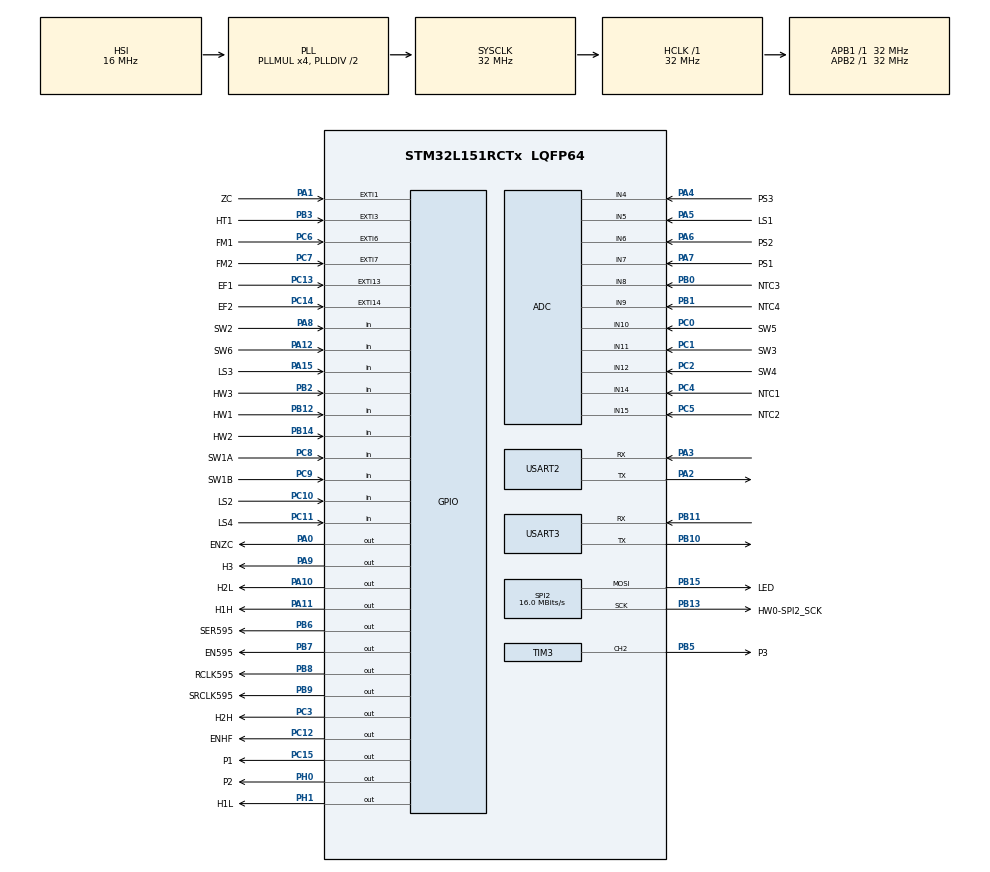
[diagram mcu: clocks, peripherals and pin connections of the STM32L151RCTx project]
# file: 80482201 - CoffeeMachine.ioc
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ADC.Channel-0\#ChannelRegularConversion=ADC_CHANNEL_4
ADC.Channel-1\#ChannelRegularConversion=ADC_CHANNEL_5
ADC.Channel-10\#ChannelRegularConversion=ADC_CHANNEL_12
ADC.Channel-11\#ChannelRegularConversion=ADC_CHANNEL_VREFINT
ADC.Channel-2\#ChannelRegularConversion=ADC_CHANNEL_6
ADC.Channel-3\#ChannelRegularConversion=ADC_CHANNEL_7
ADC.Channel-4\#ChannelRegularConversion=ADC_CHANNEL_8
ADC.Channel-5\#ChannelRegularConversion=ADC_CHANNEL_9
ADC.Channel-6\#ChannelRegularConversion=ADC_CHANNEL_14
ADC.Channel-7\#ChannelRegularConversion=ADC_CHANNEL_15
ADC.Channel-8\#ChannelRegularConversion=ADC_CHANNEL_10
ADC.Channel-9\#ChannelRegularConversion=ADC_CHANNEL_11
ADC.ClockPrescaler=ADC_CLOCK_ASYNC_DIV4
ADC.ContinuousConvMode=ENABLE
ADC.DMAContinuousRequests=ENABLE
ADC.NbrOfConversion=12
ADC.NbrOfConversionFlag=1
ADC.Rank-0\#ChannelRegularConversion=1
ADC.Rank-1\#ChannelRegularConversion=2
ADC.Rank-10\#ChannelRegularConversion=11
ADC.Rank-11\#ChannelRegularConversion=12
ADC.Rank-2\#ChannelRegularConversion=3
ADC.Rank-3\#ChannelRegularConversion=4
ADC.Rank-4\#ChannelRegularConversion=5
ADC.Rank-5\#ChannelRegularConversion=6
ADC.Rank-6\#ChannelRegularConversion=7
ADC.Rank-7\#ChannelRegularConversion=8
ADC.Rank-8\#ChannelRegularConversion=9
ADC.Rank-9\#ChannelRegularConversion=10
ADC.SamplingTime-0\#ChannelRegularConversion=ADC_SAMPLETIME_192CYCLES
ADC.SamplingTime-1\#ChannelRegularConversion=ADC_SAMPLETIME_192CYCLES
ADC.SamplingTime-10\#ChannelRegularConversion=ADC_SAMPLETIME_192CYCLES
ADC.SamplingTime-11\#ChannelRegularConversion=ADC_SAMPLETIME_192CYCLES
ADC.SamplingTime-2\#ChannelRegularConversion=ADC_SAMPLETIME_192CYCLES
ADC.SamplingTime-3\#ChannelRegularConversion=ADC_SAMPLETIME_192CYCLES
ADC.SamplingTime-4\#ChannelRegularConversion=ADC_SAMPLETIME_192CYCLES
ADC.SamplingTime-5\#ChannelRegularConversion=ADC_SAMPLETIME_192CYCLES
ADC.SamplingTime-6\#ChannelRegularConversion=ADC_SAMPLETIME_192CYCLES
ADC.SamplingTime-7\#ChannelRegularConversion=ADC_SAMPLETIME_192CYCLES
ADC.SamplingTime-8\#ChannelRegularConversion=ADC_SAMPLETIME_192CYCLES
ADC.SamplingTime-9\#ChannelRegularConversion=ADC_SAMPLETIME_192CYCLES
ADC.ScanConvMode=ADC_SCAN_ENABLE
Dma.ADC.2.Direction=DMA_PERIPH_TO_MEMORY
Dma.ADC.2.Instance=DMA1_Channel1
Dma.ADC.2.MemDataAlignment=DMA_MDATAALIGN_HALFWORD
Dma.ADC.2.MemInc=DMA_MINC_ENABLE
Dma.ADC.2.Mode=DMA_CIRCULAR
Dma.ADC.2.PeriphDataAlignment=DMA_PDATAALIGN_HALFWORD
Dma.ADC.2.PeriphInc=DMA_PINC_DISABLE
Dma.ADC.2.Priority=DMA_PRIORITY_LOW
Dma.Request0=USART2_RX
Dma.Request1=USART3_RX
Dma.Request2=ADC
Dma.Request3=SPI2_TX
Dma.SPI2_TX.3.Direction=DMA_MEMORY_TO_PERIPH
Dma.SPI2_TX.3.Instance=DMA1_Channel5
Dma.SPI2_TX.3.MemDataAlignment=DMA_MDATAALIGN_BYTE
Dma.SPI2_TX.3.MemInc=DMA_MINC_ENABLE
Dma.SPI2_TX.3.Mode=DMA_NORMAL
Dma.SPI2_TX.3.PeriphDataAlignment=DMA_PDATAALIGN_BYTE
Dma.SPI2_TX.3.PeriphInc=DMA_PINC_DISABLE
Dma.SPI2_TX.3.Priority=DMA_PRIORITY_MEDIUM
Dma.USART2_RX.0.Direction=DMA_PERIPH_TO_MEMORY
Dma.USART2_RX.0.Instance=DMA1_Channel6
Dma.USART2_RX.0.MemDataAlignment=DMA_MDATAALIGN_BYTE
Dma.USART2_RX.0.MemInc=DMA_MINC_ENABLE
Dma.USART2_RX.0.Mode=DMA_CIRCULAR
Dma.USART2_RX.0.PeriphDataAlignment=DMA_PDATAALIGN_BYTE
Dma.USART2_RX.0.PeriphInc=DMA_PINC_DISABLE
Dma.USART2_RX.0.Priority=DMA_PRIORITY_LOW
Dma.USART3_RX.1.Direction=DMA_PERIPH_TO_MEMORY
Dma.USART3_RX.1.Instance=DMA1_Channel3
Dma.USART3_RX.1.MemDataAlignment=DMA_MDATAALIGN_BYTE
Dma.USART3_RX.1.MemInc=DMA_MINC_ENABLE
Dma.USART3_RX.1.Mode=DMA_CIRCULAR
Dma.USART3_RX.1.PeriphDataAlignment=DMA_PDATAALIGN_BYTE
Dma.USART3_RX.1.PeriphInc=DMA_PINC_DISABLE
Dma.USART3_RX.1.Priority=DMA_PRIORITY_LOW
IWDG.Prescaler=IWDG_PRESCALER_256
IWDG.Reload=1250
Mcu.Family=STM32L1
Mcu.Name=STM32L151RCTx
Mcu.Package=LQFP64
NVIC.ADC1_IRQn=true\:0\:0\:false\:false\:true\:true\:true\:true
NVIC.DMA1_Channel1_IRQn=true\:0\:0\:false\:false\:true\:false\:true\:true
NVIC.DMA1_Channel3_IRQn=true\:0\:0\:false\:false\:true\:false\:true\:true
NVIC.DMA1_Channel5_IRQn=true\:0\:0\:false\:false\:true\:false\:true\:true
NVIC.DMA1_Channel6_IRQn=true\:0\:0\:false\:false\:true\:false\:true\:true
NVIC.EXTI15_10_IRQn=true\:0\:0\:false\:false\:true\:true\:true\:true
NVIC.EXTI1_IRQn=true\:0\:0\:false\:false\:true\:true\:true\:true
NVIC.EXTI3_IRQn=true\:0\:0\:false\:false\:true\:true\:true\:true
NVIC.EXTI9_5_IRQn=true\:0\:0\:false\:false\:true\:true\:true\:true
NVIC.PriorityGroup=NVIC_PRIORITYGROUP_4
NVIC.TIM9_IRQn=true\:0\:0\:false\:false\:true\:true\:true\:true
NVIC.USART2_IRQn=true\:0\:0\:false\:false\:true\:true\:true\:true
NVIC.USART3_IRQn=true\:0\:0\:false\:false\:true\:true\:true\:true
PA0-WKUP1.GPIO_Label=ENZC
PA0-WKUP1.Signal=GPIO_Output
PA1.GPIO_Label=ZC
PA1.GPIO_PuPd=GPIO_PULLUP
PA1.Signal=GPXTI1
PA10.GPIO_Label=H2L
PA10.Signal=GPIO_Output
PA11.GPIO_Label=H1H
PA11.Signal=GPIO_Output
PA12.GPIO_Label=SW6
PA12.GPIO_PuPd=GPIO_PULLUP
PA12.Signal=GPIO_Input
PA13.Mode=Serial_Wire
PA13.Signal=SYS_JTMS-SWDIO
PA14.Mode=Serial_Wire
PA14.Signal=SYS_JTCK-SWCLK
PA15.GPIO_Label=LS3
PA15.Signal=GPIO_Input
PA2.Mode=Asynchronous
PA2.Signal=USART2_TX
PA3.Mode=Asynchronous
PA3.Signal=USART2_RX
PA4.GPIO_Label=PS3
PA4.Mode=IN4
PA4.Signal=ADC_IN4
PA5.GPIO_Label=LS1
PA5.Mode=IN5
PA5.Signal=ADC_IN5
PA6.GPIO_Label=PS2
PA6.Mode=IN6
PA6.Signal=ADC_IN6
PA7.GPIO_Label=PS1
PA7.Mode=IN7
PA7.Signal=ADC_IN7
PA8.GPIO_Label=SW2
PA8.GPIO_PuPd=GPIO_PULLUP
PA8.Signal=GPIO_Input
PA9.GPIO_Label=H3
PA9.Signal=GPIO_Output
PB0.GPIO_Label=NTC3
PB0.Mode=IN8
PB0.Signal=ADC_IN8
PB1.GPIO_Label=NTC4
PB1.Signal=SharedAnalog_PB1
PB10.Mode=Asynchronous
PB10.Signal=USART3_TX
PB11.Mode=Asynchronous
PB11.Signal=USART3_RX
PB12.GPIO_Label=HW1
PB12.GPIO_PuPd=GPIO_PULLUP
PB12.Signal=GPIO_Input
PB13.GPIO_Label=HW0-SPI2_SCK
PB13.Mode=TX_Only_Simplex_Unidirect_Master
PB13.Signal=SPI2_SCK
PB14.GPIO_Label=HW2
PB14.GPIO_PuPd=GPIO_PULLUP
PB14.Signal=GPIO_Input
PB15.GPIO_Label=LED
PB15.Mode=TX_Only_Simplex_Unidirect_Master
PB15.Signal=SPI2_MOSI
PB2.GPIO_Label=HW3
PB2.GPIO_PuPd=GPIO_PULLUP
PB2.Signal=GPIO_Input
PB3.GPIO_Label=HT1
PB3.Signal=GPXTI3
PB5.GPIO_Label=P3
PB5.Signal=S_TIM3_CH2
PB6.GPIO_Label=SER595
PB6.Signal=GPIO_Output
PB7.GPIO_Label=EN595
PB7.Signal=GPIO_Output
PB8.GPIO_Label=RCLK595
PB8.Signal=GPIO_Output
PB9.GPIO_Label=SRCLK595
PB9.Signal=GPIO_Output
PC0.GPIO_Label=SW5
PC0.Mode=IN10
PC0.Signal=ADC_IN10
PC1.GPIO_Label=SW3
PC1.Mode=IN11
PC1.Signal=ADC_IN11
PC10.GPIO_Label=LS2
PC10.Signal=GPIO_Input
PC11.GPIO_Label=LS4
PC11.Signal=GPIO_Input
PC12.GPIO_Label=ENHF
PC12.Signal=GPIO_Output
PC13-WKUP2.GPIO_Label=EF1
PC13-WKUP2.GPIO_PuPd=GPIO_PULLUP
PC13-WKUP2.Signal=GPXTI13
PC14-OSC32_IN.GPIO_Label=EF2
PC14-OSC32_IN.GPIO_PuPd=GPIO_PULLUP
PC14-OSC32_IN.Signal=GPXTI14
PC15-OSC32_OUT.GPIO_Label=P1
PC15-OSC32_OUT.Signal=GPIO_Output
PC2.GPIO_Label=SW4
PC2.Mode=IN12
PC2.Signal=ADC_IN12
PC3.GPIO_Label=H2H
PC3.Signal=GPIO_Output
PC4.GPIO_Label=NTC1
PC4.Mode=IN14
PC4.Signal=ADC_IN14
PC5.GPIO_Label=NTC2
PC5.Mode=IN15
PC5.Signal=ADC_IN15
PC6.GPIO_Label=FM1
PC6.GPIO_PuPd=GPIO_PULLUP
PC6.Signal=GPXTI6
PC7.GPIO_Label=FM2
PC7.GPIO_PuPd=GPIO_PULLUP
PC7.Signal=GPXTI7
PC8.GPIO_Label=SW1A
PC8.GPIO_PuPd=GPIO_PULLUP
PC8.Signal=GPIO_Input
PC9.GPIO_Label=SW1B
PC9.GPIO_PuPd=GPIO_PULLUP
PC9.Signal=GPIO_Input
PH0-OSC_IN.GPIO_Label=P2
PH0-OSC_IN.Signal=GPIO_Output
PH1-OSC_OUT.GPIO_Label=H1L
PH1-OSC_OUT.Signal=GPIO_Output
ProjectManager.HeapSize=0x200
ProjectManager.StackSize=0x400
ProjectManager.TargetToolchain=STM32CubeIDE
RCC.48MHZClocksFreq_Value=32000000
RCC.AHBFreq_Value=32000000
RCC.APB1Freq_Value=32000000
RCC.APB1TimFreq_Value=32000000
RCC.APB2Freq_Value=32000000
RCC.APB2TimFreq_Value=32000000
RCC.HCLKFreq_Value=32000000
RCC.HSE_VALUE=8000000
RCC.HSI_VALUE=16000000
RCC.LSE_VALUE=32768
RCC.MSI_VALUE=2097000
RCC.PLLMUL=RCC_PLL_MUL4
RCC.SYSCLKFreq_VALUE=32000000
RCC.SYSCLKSource=RCC_SYSCLKSOURCE_PLLCLK
RCC.VCOOutputFreq_Value=64000000
SH.S_TIM3_CH2.0=TIM3_CH2,PWM Generation2 CH2
SH.SharedAnalog_PB1.0=COMP1_INP
SH.SharedAnalog_PB1.1=ADC_IN9,IN9
SPI2.CLKPhase=SPI_PHASE_2EDGE
SPI2.CalculateBaudRate=16.0 MBits/s
SPI2.Direction=SPI_DIRECTION_2LINES
SPI2.Mode=SPI_MODE_MASTER
SPI2.VirtualType=VM_MASTER
TIM3.Channel-PWM\ Generation2\ CH2=TIM_CHANNEL_2
TIM3.Period=99
TIM3.Prescaler=15
TIM6.Prescaler=3199
TIM7.Prescaler=31
TIM9.Channel-Output\ Compare1\ No\ Output=TIM_CHANNEL_1
TIM9.Channel-Output\ Compare2\ No\ Output=TIM_CHANNEL_2
TIM9.OCMode_1=TIM_OCMODE_TIMING
TIM9.OCMode_2=TIM_OCMODE_TIMING
TIM9.Period=8999
TIM9.Prescaler=31
USART2.VirtualMode=VM_ASYNC
USART3.VirtualMode=VM_ASYNC
VP_ADC_Vref_Input.Mode=IN-Vrefint
VP_IWDG_VS_IWDG.Mode=IWDG_Activate
VP_TIM6_VS_ClockSourceINT.Mode=Enable_Timer
VP_TIM7_VS_ClockSourceINT.Mode=Enable_Timer
VP_TIM9_VS_ClockSourceINT.Mode=Internal
VP_TIM9_VS_OPM.Mode=OPM_bit
VP_TIM9_VS_no_output1.Mode=Output Compare1 No Output
VP_TIM9_VS_no_output2.Mode=Output Compare2 No Output
board=custom

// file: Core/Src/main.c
/* USER CODE BEGIN Header */
/**
  ******************************************************************************
  * @file           : main.c
  * @brief          : Main program body
  ******************************************************************************
  * @attention
  *
  * Copyright (c) 2022 STMicroelectronics.
  * All rights reserved.
  *
  * This software is licensed under terms that can be found in the LICENSE file
  * in the root directory of this software component.
  * If no LICENSE file comes with this software, it is provided AS-IS.
  *
  ******************************************************************************
  */
/* USER CODE END Header */
#include "main.h"
#include "dma.h"
#include "iwdg.h"
#include "spi.h"
#include "tim.h"
#include "usart.h"
#include "gpio.h"

/* USER CODE BEGIN Includes */
#include "work.h"
#include "serial.h"
#include "valves.h"
#include "analog.h"
#include "watertank.h"
#include "ws2812.h"
#include "led.h"
#include "adc.h"
#include "heaters.h"
#include "pumps.h"
#include "airpump.h"
#include "recipe.h"
#include "eeprom.h"
#include "flash.h"
#include "zerocross.h"
#include "driptray.h"
/* USER CODE END Includes */

/* USER CODE BEGIN PV */
uint8_t a,b, c, d , e;

/* USER CODE END PV */

void SystemClock_Config(void);

/* USER CODE BEGIN 0 */
void MAIN_GPIO_Init(void)
{
  GPIO_InitTypeDef GPIO_InitStruct = {0};

  /* GPIO Ports Clock Enable */
  __HAL_RCC_GPIOB_CLK_ENABLE();

  /*Configure GPIO pins : HW0 */
    GPIO_InitStruct.Pin = HW0_Pin;
    GPIO_InitStruct.Mode = GPIO_MODE_INPUT;
    GPIO_InitStruct.Pull = GPIO_PULLUP;
    HAL_GPIO_Init(GPIOB, &GPIO_InitStruct);
}

/* USER CODE END 0 */

int main(void)
{
  /* USER CODE BEGIN 1 */
  Initialized = 0;
  SCB->VTOR = FLA_MAINADDRESS; /* Vector Table Relocation to partition 2 in Internal FLASH */
  SysTick->CTRL = 1;
  //Enable interrupts
  __enable_irq();
  /* USER CODE END 1 */

  /* MCU Configuration--------------------------------------------------------*/

  /* Reset of all peripherals, Initializes the Flash interface and the Systick. */
  HAL_Init();

  /* Configure the system clock */
  SystemClock_Config();

  /* USER CODE BEGIN SysInit */
  //SEQUENCE NEEDS TO BE DMA, THEN ADC
  MAIN_GPIO_Init();
  HW0 = (HAL_GPIO_ReadPin(HW0_GPIO_Port, HW0_Pin) == GPIO_PIN_SET);
  /* USER CODE END SysInit */

  /* Initialize all configured peripherals */
  MX_GPIO_Init();
  MX_DMA_Init();
  MX_TIM3_Init();
  MX_TIM7_Init();
  MX_USART2_UART_Init();
  MX_USART3_UART_Init();
  MX_SPI2_Init();
  MX_TIM9_Init();
  MX_TIM6_Init();
  MX_IWDG_Init();
  /* USER CODE BEGIN 2 */
  MX_ADC_Init(); //Put here, because CubeIDE puts it in front of MX_DMA_Init(), which makes ADC DMA not work
  VAL_Init();
  SER_Init ();
  ANA_Init();
  WAT_Init();
  LED_Init();
  PUM_Init();
  AIR_Init();
  REC_Init();
  FLA_Init();
  WRK_Init();
  HAL_TIM_Base_Start(&htim6); //Start general timer
  HAL_TIM_Base_Start(&htim7); //Start general timer
  /* USER CODE END 2 */

  /* Infinite loop */
  /* USER CODE BEGIN WHILE */
  Initialized = 1;

  while (1)
  {
	HAL_IWDG_Refresh(&hiwdg);
  	if (Flg1ms == 1)
  	{
  		Flg1ms = 0;
  		WRK_HandleTickTime();
  	}
  	if (FlgFM[P1] == 1)
  	{
  		FlgFM[P1] = 0;
  		PUM_CalculateFlow(P1);
  		PUM_CalculateVolume(P1);
  	}
  	if (FlgFM[P2] == 1)
	{
		FlgFM[P2] = 0;
		PUM_CalculateFlow(P2);
		PUM_CalculateVolume(P2);
	}
  	if (FlgZCR == 1)
	{
		FlgZCR = 0;
		PUM_CalculateFlow(P2);
		PUM_CalculateVolume(P2);
	}
  	if (a==1)
  	{
  		DRP_DetectionOff();
  		a = 0;
  	}
  	else if (a==2)
	{
		DRP_DetectionOn();
		a = 0;
	}
    /* USER CODE END WHILE */

  }
}

void SystemClock_Config(void)
{
  RCC_OscInitTypeDef RCC_OscInitStruct = {0};
  RCC_ClkInitTypeDef RCC_ClkInitStruct = {0};

  /** Configure the main internal regulator output voltage
  */
  __HAL_PWR_VOLTAGESCALING_CONFIG(PWR_REGULATOR_VOLTAGE_SCALE1);

  /** Initializes the RCC Oscillators according to the specified parameters
  * in the RCC_OscInitTypeDef structure.
  */
  RCC_OscInitStruct.OscillatorType = RCC_OSCILLATORTYPE_HSI|RCC_OSCILLATORTYPE_LSI;
  RCC_OscInitStruct.HSIState = RCC_HSI_ON;
  RCC_OscInitStruct.HSICalibrationValue = RCC_HSICALIBRATION_DEFAULT;
  RCC_OscInitStruct.LSIState = RCC_LSI_ON;
  RCC_OscInitStruct.PLL.PLLState = RCC_PLL_ON;
  RCC_OscInitStruct.PLL.PLLSource = RCC_PLLSOURCE_HSI;
  RCC_OscInitStruct.PLL.PLLMUL = RCC_PLL_MUL4;
  RCC_OscInitStruct.PLL.PLLDIV = RCC_PLL_DIV2;
  if (HAL_RCC_OscConfig(&RCC_OscInitStruct) != HAL_OK)
  {
    Error_Handler();
  }

  /** Initializes the CPU, AHB and APB buses clocks
  */
  RCC_ClkInitStruct.ClockType = RCC_CLOCKTYPE_HCLK|RCC_CLOCKTYPE_SYSCLK
                              |RCC_CLOCKTYPE_PCLK1|RCC_CLOCKTYPE_PCLK2;
  RCC_ClkInitStruct.SYSCLKSource = RCC_SYSCLKSOURCE_PLLCLK;
  RCC_ClkInitStruct.AHBCLKDivider = RCC_SYSCLK_DIV1;
  RCC_ClkInitStruct.APB1CLKDivider = RCC_HCLK_DIV1;
  RCC_ClkInitStruct.APB2CLKDivider = RCC_HCLK_DIV1;

  if (HAL_RCC_ClockConfig(&RCC_ClkInitStruct, FLASH_LATENCY_1) != HAL_OK)
  {
    Error_Handler();
  }
}

void Error_Handler(void)
{
  __disable_irq();
  while (1)
  {
  }
}
